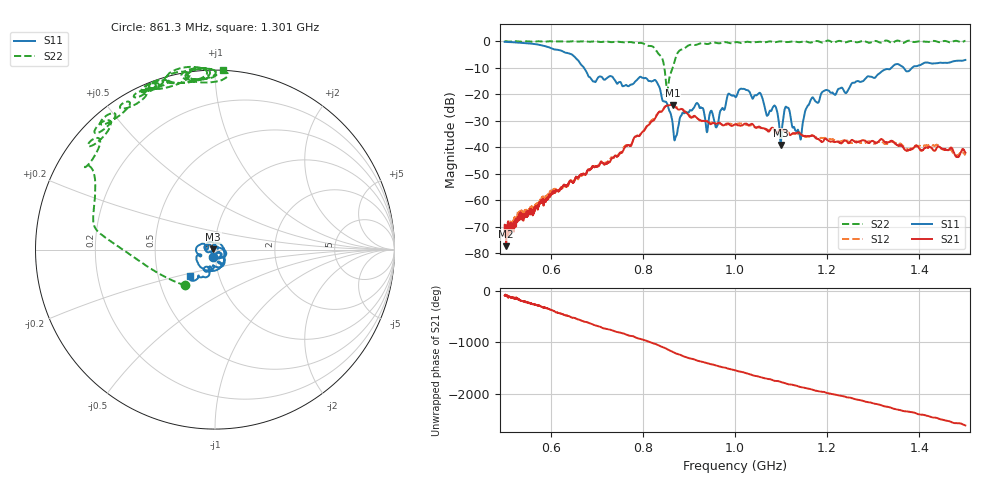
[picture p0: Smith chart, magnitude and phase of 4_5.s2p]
!Agilent Technologies,E8364B,US42250235,A.06.04.32
!Agilent E8364B: A.06.04.32
!Date: Thursday, October 01, 2020 16:07:02
!Correction: S11(Full 2 Port(1,2)) S21(Full 2 Port(1,2)) S12(Full 2 Port(1,2)) S22(Full 2 Port(1,2))
!S2P File: Measurements: S11, S21, S12, S22:
# Hz S  dB  R 50
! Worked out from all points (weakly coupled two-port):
!   2650 points, 500 MHz to 1.5 GHz, reference 50 ohm
!   highest |S21| = -24.02 dB at 865 MHz (marker M1); lowest = -77.4 dB at 503.4 MHz (marker M2)
!   lowest |S11| = -39.2 dB at 1.099 GHz (marker M3), VSWR 1.02, Z = 48.9 + j0.235 ohm
!   |S11| at or under -10 dB: 672.1 MHz to 1.339 GHz (667.3 MHz wide, 66.3 % of centre); 1.366 GHz to 1.385 GHz (18.69 MHz wide, 1.36 % of centre)
!   |S22| runs from -18.9 to 0.3 dB; largest |S21 - S12| = 0.011
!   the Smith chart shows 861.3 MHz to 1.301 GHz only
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5e8  -0.23 -175.3  -72.26 -96.8  -72.34 -92.6  0.02 143.5
5.033975e8  -0.26 -177.0  -77.38 -106.4  -70.37 -99.5  -0.01 144.7
5.921102e8  -2.09 125.2  -58.94 11.7  -58.34 6.0  -0.06 128.0
6.668554e8  -9.01 62.3  -50.38 136.3  -50.29 141.6  -0.06 125.0
6.940355e8  -15.19 73.8  -47.53 53.3  -47.23 60.8  -0.06 120.3
7.955832e8  -13.42 45.2  -35.01 141.3  -34.93 150.2  -0.63 97.6
8.337108e8  -16.58 -35.6  -27.05 21.6  -27.02 28.6  -4.74 54.3
8.529634e8  -23.70 -71.8  -24.23 -56.4  -24.15 -48.0  -18.92 -45.7
8.650434e8  -31.63 -137.1  -24.02 -108.1  -24.09 -99.9  -9.89 -152.2
9.043035e8  -26.09 3.1  -28.89 123.6  -28.53 129.3  -1.32 147.4
9.597961e8  -32.47 -54.0  -31.16 -10.7  -31.43 -2.8  -0.65 135.7
1.000189e9  -20.94 -97.7  -31.39 -103.8  -31.49 -97.1  -0.38 120.4
1.054171e9  -19.51 178.3  -32.39 125.8  -32.72 129.4  -0.21 114.5
1.069649e9  -28.18 165.6  -33.69 89.9  -33.36 94.4  -0.27 108.8
1.087769e9  -24.64 154.0  -34.38 50.1  -34.41 54.9  -0.34 111.4
1.099094e9  -39.19 167.4  -33.24 31.4  -34.05 34.8  -0.07 112.6
1.112684e9  -25.03 155.3  -33.85 -7.0  -34.22 0.3  -0.33 110.9
1.141374e9  -36.34 14.2  -34.81 -66.3  -35.34 -62.8  -0.34 107.0
1.166667e9  -21.46 -54.6  -35.65 -114.8  -35.68 -114.8  -0.44 101.0
1.333522e9  -10.58 -147.4  -38.17 -95.1  -38.54 -93.7  -0.03 97.8
1.37165e9  -11.32 -177.6  -41.33 -178.5  -40.52 178.8  -0.10 74.3
1.5e9  -7.06 140.5  -42.11 -90.8  -43.08 -86.0  0.18 71.7
